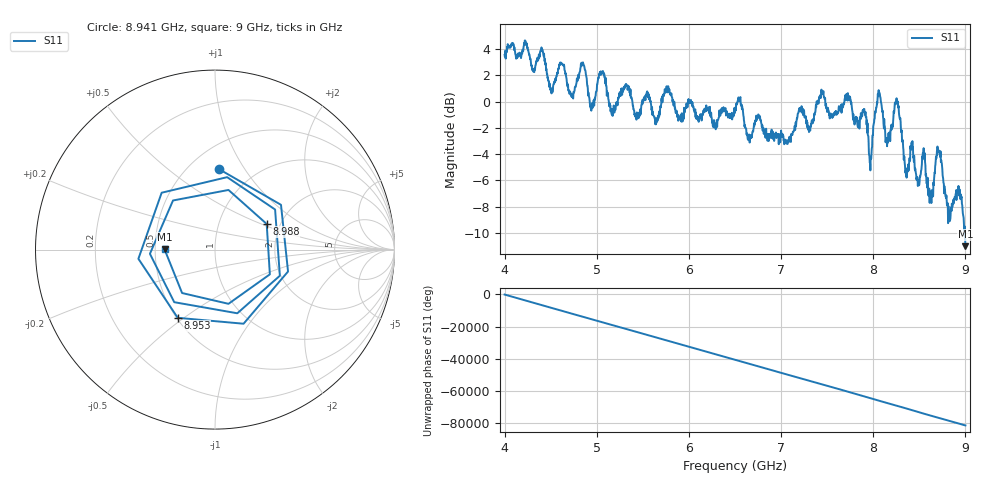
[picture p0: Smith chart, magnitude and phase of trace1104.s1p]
! Created with skrf 1.8.0 (http://scikit-rf.org).
# Hz S RI R 50.0
!freq ReS11 ImS11
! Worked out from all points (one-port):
!   1601 points, 4 GHz to 9 GHz, reference 50 ohm
!   lowest |S11| = -11.0 dB at 9 GHz (marker M1), VSWR 1.78, Z = 28 + j0.122 ohm
!   |S11| at or under -10 dB: 8.993364 GHz to end of sweep
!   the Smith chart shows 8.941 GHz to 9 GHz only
!   S11 on the Smith chart (normalised r, x): 8.941 GHz: 0.69, +0.78; 8.953 GHz: 0.51, -0.47; 8.988 GHz: 1.70, +0.54; 9 GHz: 0.56, +0.00
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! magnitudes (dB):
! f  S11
! 4 GHz  3.6
! 4.403 GHz  4.0
! 4.509 GHz  0.6
! 4.625 GHz  2.9
! 4.728 GHz  0.3
! 4.853 GHz  2.9
! 4.947 GHz  -0.3
! 5.05 GHz  2.1
! 5.156 GHz  -0.6
! 5.25 GHz  0.7
! 5.875 GHz  -1.2
! 6.5 GHz  -0.7
! 7.125 GHz  -2.4
! 7.75 GHz  0.3
! 7.906 GHz  -0.8
! 7.969 GHz  -5.2
! 8.056 GHz  0.8
! 8.159 GHz  -3.1
! 8.256 GHz  -0.1
! 8.375 GHz  -5.2
! 8.547 GHz  -3.5
! 8.625 GHz  -7.0
! 8.706 GHz  -3.7
! 8.825 GHz  -9.0
! 8.941 GHz  -7.0
! 8.953 GHz  -7.3
! 8.988 GHz  -9.9
! 9 GHz  -11.0
